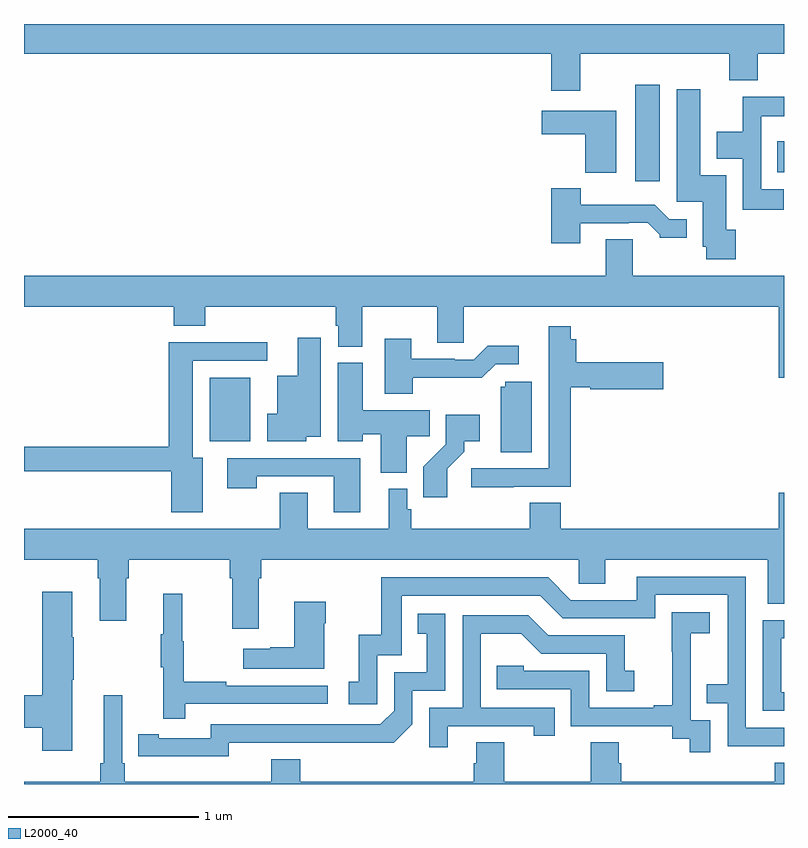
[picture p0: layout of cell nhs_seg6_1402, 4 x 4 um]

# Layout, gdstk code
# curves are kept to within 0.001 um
import gdstk
lib = gdstk.Library(unit=1e-6, precision=1e-09)
def R(c, l, rs):  # rectangles x0, y0, x1, y1
    for r in rs: c.add(gdstk.rectangle(r[:2], r[2:], *l))
def P(c, l, *ps):  # polygons
    for p in ps: c.add(gdstk.Polygon(p, *l))
L2000_40 = (2000, 40)

nhs_seg6_1402 = lib.new_cell('nhs_seg6_1402')
R(nhs_seg6_1402, L2000_40, [(197.978,937.304,198.19,937.639), (200.216,938.673,200.347,939.181), (200.965,938.72,201,938.884)])
P(nhs_seg6_1402, L2000_40, [(199.927,939.344),(200.711,939.344),(200.711,939.203),(200.863,939.203),(200.863,939.344),(201,939.344),(201,939.5),(197,939.5),(197,939.344),(199.775,939.344),(199.775,939.15),(199.927,939.15)],
  [(200.747,938.418),(200.695,938.418),(200.695,938.704),(200.56,938.704),(200.56,939.157),(200.435,939.157),(200.435,938.565),(200.573,938.565),(200.573,938.328),(200.59,938.328),(200.59,938.262),(200.747,938.262)],
  [(200.998,938.631),(200.88,938.631),(200.88,939.014),(201,939.014),(201,939.118),(200.782,939.118),(200.782,938.932),(200.645,938.932),(200.645,938.792),(200.784,938.792),(200.784,938.523),(200.998,938.523)],
  [(200.116,939.043),(199.725,939.043),(199.725,938.921),(199.954,938.921),(199.954,938.717),(200.116,938.717)],
  [(199.927,938.451),(200.183,938.451),(200.183,938.454),(200.282,938.454),(200.346,938.39),(200.346,938.375),(200.488,938.375),(200.488,938.472),(200.397,938.472),(200.321,938.548),(199.93,938.548),(199.93,938.635),(199.775,938.635),(199.775,938.346),(199.927,938.346)],
  [(201,938.176),(200.203,938.176),(200.203,938.366),(200.063,938.366),(200.063,938.176),(197,938.176),(197,938.012),(197.789,938.012),(197.789,937.913),(197.954,937.913),(197.954,938.012),(198.641,938.012),(198.641,937.911),(198.653,937.911),(198.653,937.801),(198.781,937.801),(198.781,938.012),(199.175,938.012),(199.175,937.822),(199.314,937.822),(199.314,938.012),(200.972,938.012),(200.972,937.638),(201,937.638)],
  [(199.577,937.065),(199.877,937.065),(199.877,937.589),(199.98,937.589),(199.98,937.577),(200.365,937.577),(200.365,937.719),(199.907,937.719),(199.907,937.84),(199.877,937.84),(199.877,937.909),(199.761,937.909),(199.761,937.161),(199.353,937.161),(199.353,937.063),(199.577,937.063)],
  [(198.486,937.328),(198.562,937.328),(198.562,937.849),(198.44,937.849),(198.44,937.648),(198.332,937.648),(198.332,937.45),(198.281,937.45),(198.281,937.304),(198.486,937.304)],
  [(199.047,937.638),(199.409,937.637),(199.482,937.71),(199.603,937.71),(199.603,937.807),(199.441,937.807),(199.368,937.734),(199.268,937.734),(199.268,937.737),(199.039,937.737),(199.039,937.843),(198.899,937.843),(198.899,937.553),(199.047,937.553)],
  [(197.941,937.216),(197.887,937.216),(197.887,937.728),(198.28,937.728),(198.28,937.826),(197.762,937.826),(197.762,937.274),(197,937.274),(197,937.146),(197.774,937.146),(197.774,936.93),(197.941,936.93)],
  [(199.015,937.33),(199.136,937.33),(199.136,937.468),(198.784,937.468),(198.784,937.716),(198.65,937.716),(198.65,937.304),(198.784,937.304),(198.784,937.341),(198.878,937.341),(198.878,937.139),(199.015,937.139)],
  [(199.672,937.617),(199.533,937.617),(199.533,937.59),(199.508,937.59),(199.508,937.246),(199.672,937.246)],
  [(199.228,937.159),(199.318,937.249),(199.318,937.304),(199.399,937.304),(199.399,937.444),(199.221,937.444),(199.221,937.289),(199.102,937.17),(199.102,937.008),(199.228,937.008)],
  [(198.769,937.215),(198.069,937.215),(198.069,937.056),(198.225,937.056),(198.225,937.119),(198.629,937.119),(198.629,936.93),(198.769,936.93)],
  [(197,936.68),(197.387,936.68),(197.387,936.584),(197.399,936.584),(197.399,936.36),(197.539,936.36),(197.539,936.584),(197.552,936.584),(197.552,936.68),(198.083,936.68),(198.083,936.584),(198.095,936.584),(198.095,936.318),(198.235,936.318),(198.235,936.584),(198.248,936.584),(198.248,936.68),(199.92,936.68),(199.92,936.553),(200.059,936.553),(200.059,936.68),(200.915,936.68),(200.915,936.448),(201,936.448),(201,937.033),(200.972,937.033),(200.972,936.844),(199.826,936.844),(199.826,936.98),(199.661,936.98),(199.661,936.844),(199.037,936.844),(199.037,936.945),(199.017,936.945),(199.017,937.054),(198.92,937.054),(198.92,936.844),(198.493,936.844),(198.493,937.034),(198.346,937.034),(198.346,936.844),(197,936.844)],
  [(201,935.796),(200.799,935.796),(200.799,936.591),(200.225,936.591),(200.225,936.468),(199.878,936.468),(199.758,936.588),(198.879,936.588),(198.879,936.286),(198.761,936.286),(198.761,936.039),(198.708,936.039),(198.708,935.919),(198.858,935.919),(198.858,936.177),(198.987,936.177),(198.987,936.492),(199.716,936.492),(199.836,936.372),(200.322,936.372),(200.322,936.495),(200.703,936.495),(200.703,936.026),(200.593,936.026),(200.593,935.925),(200.703,935.925),(200.703,935.7),(201,935.7)],
  [(197.254,936.049),(197.262,936.049),(197.262,936.272),(197.254,936.272),(197.254,936.511),(197.096,936.511),(197.096,935.966),(197,935.966),(197,935.795),(197.096,935.795),(197.096,935.676),(197.254,935.676)],
  [(197.849,935.922),(198.598,935.922),(198.598,936.018),(198.065,936.018),(198.065,936.038),(197.842,936.038),(197.842,936.252),(197.834,936.252),(197.834,936.502),(197.732,936.502),(197.732,936.289),(197.721,936.289),(197.721,936.115),(197.732,936.115),(197.732,935.844),(197.849,935.844)],
  [(198.58,936.347),(198.588,936.347),(198.588,936.46),(198.422,936.46),(198.422,936.221),(198.296,936.221),(198.296,936.211),(198.153,936.211),(198.153,936.107),(198.58,936.107)],
  [(200.613,935.835),(200.508,935.835),(200.508,936.065),(200.51,936.065),(200.51,936.293),(200.608,936.293),(200.608,936.403),(200.41,936.403),(200.41,936.197),(200.411,936.197),(200.411,935.914),(200.315,935.914),(200.315,935.901),(199.974,935.901),(199.974,936.096),(199.629,936.096),(199.629,936.123),(199.489,936.123),(199.489,936),(199.878,936),(199.878,935.805),(200.412,935.805),(200.412,935.737),(200.505,935.737),(200.505,935.667),(200.613,935.667)],
  [(198.078,935.718),(198.946,935.717),(199.044,935.814),(199.044,935.991),(199.218,935.991),(199.218,936.397),(199.072,936.397),(199.072,936.291),(199.121,936.291),(199.121,936.087),(198.948,936.087),(198.948,935.886),(198.876,935.814),(197.982,935.814),(197.982,935.742),(197.71,935.742),(197.71,935.762),(197.602,935.762),(197.602,935.646),(198.078,935.645)],
  [(199.231,935.805),(199.682,935.805),(199.682,935.754),(199.793,935.754),(199.793,935.901),(199.404,935.901),(199.404,936.29),(199.618,936.29),(199.722,936.186),(200.064,936.186),(200.064,935.988),(200.212,935.988),(200.212,936.097),(200.163,936.097),(200.163,936.282),(199.759,936.282),(199.654,936.387),(199.308,936.387),(199.308,935.901),(199.134,935.901),(199.134,935.694),(199.231,935.694)],
  [(201,935.982),(200.985,935.982),(200.985,936.267),(201,936.267),(201,936.363),(200.889,936.363),(200.889,935.886),(201,935.886)],
  [(201,935.611),(200.951,935.611),(200.951,935.512),(200.144,935.512),(200.144,935.61),(200.131,935.61),(200.131,935.72),(199.984,935.72),(199.984,935.512),(199.527,935.512),(199.527,935.72),(199.379,935.72),(199.379,935.61),(199.367,935.61),(199.367,935.512),(198.455,935.512),(198.455,935.629),(198.302,935.629),(198.302,935.512),(197.531,935.512),(197.531,935.608),(197.517,935.608),(197.517,935.968),(197.42,935.968),(197.42,935.608),(197.401,935.608),(197.401,935.512),(197,935.512),(197,935.5),(201,935.5)])

lib.write_gds('nhs_seg6_1402.gds')
